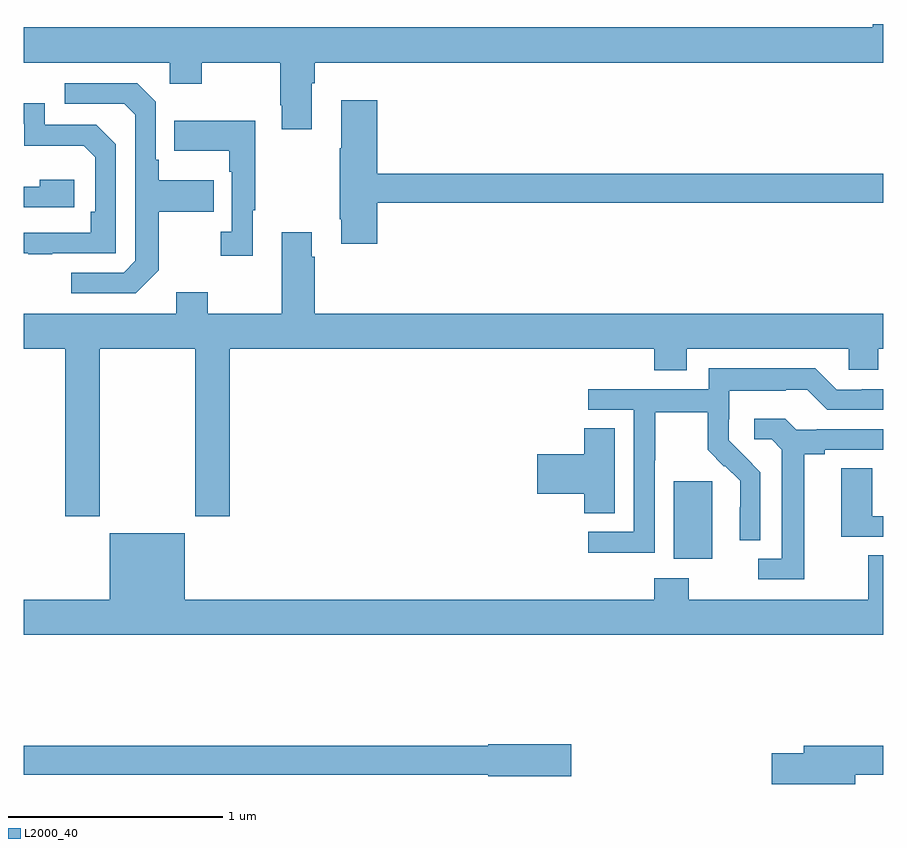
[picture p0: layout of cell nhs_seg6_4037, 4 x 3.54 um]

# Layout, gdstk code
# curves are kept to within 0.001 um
import gdstk
lib = gdstk.Library(unit=1e-6, precision=1e-09)
def R(c, l, rs):  # rectangles x0, y0, x1, y1
    for r in rs: c.add(gdstk.rectangle(r[:2], r[2:], *l))
def P(c, l, *ps):  # polygons
    for p in ps: c.add(gdstk.Polygon(p, *l))
L2000_40 = (2000, 40)

nhs_seg6_4037 = lib.new_cell('nhs_seg6_4037')
R(nhs_seg6_4037, L2000_40, [(352.025,961.01,352.204,961.371)])
P(nhs_seg6_4037, L2000_40, [(350.341,963.224),(350.354,963.224),(350.354,963.32),(353,963.32),(353,963.5),(352.952,963.5),(352.952,963.484),(349,963.484),(349,963.32),(349.68,963.32),(349.68,963.221),(349.827,963.221),(349.827,963.32),(350.194,963.32),(350.194,963.121),(350.201,963.121),(350.201,963.009),(350.341,963.009)],
  [(349.627,962.353),(349.627,962.626),(349.883,962.626),(349.883,962.773),(349.627,962.773),(349.627,962.869),(349.614,962.869),(349.614,963.138),(349.527,963.225),(349.191,963.225),(349.191,963.129),(349.467,963.129),(349.518,963.078),(349.518,962.397),(349.464,962.343),(349.221,962.343),(349.221,962.247),(349.521,962.247)],
  [(350.645,962.668),(353,962.668),(353,962.804),(350.645,962.804),(350.645,963.145),(350.477,963.145),(350.477,962.921),(350.47,962.921),(350.47,962.59),(350.477,962.59),(350.477,962.478),(350.645,962.478)],
  [(349.133,962.433),(349.428,962.433),(349.428,962.94),(349.338,963.03),(349.098,963.03),(349.098,963.132),(349,963.132),(349,963.036),(349.002,963.036),(349.002,962.933),(349.279,962.933),(349.332,962.88),(349.332,962.626),(349.312,962.626),(349.312,962.529),(349,962.529),(349,962.433),(349.021,962.433),(349.021,962.428),(349.133,962.428)],
  [(350.065,962.633),(350.077,962.633),(350.077,963.049),(349.699,963.049),(349.699,962.909),(349.956,962.909),(349.956,962.813),(349.968,962.813),(349.968,962.534),(349.917,962.534),(349.917,962.421),(350.065,962.421)],
  [(349.234,962.776),(349.073,962.776),(349.073,962.742),(349,962.742),(349,962.646),(349.234,962.646)],
  [(349.353,961.988),(349.798,961.988),(349.798,961.209),(349.958,961.209),(349.958,961.988),(351.935,961.988),(351.935,961.889),(352.087,961.889),(352.087,961.988),(352.839,961.988),(352.839,961.89),(352.977,961.89),(352.977,961.988),(353,961.988),(353,962.152),(350.354,962.152),(350.354,962.417),(350.341,962.417),(350.341,962.53),(350.201,962.53),(350.201,962.152),(349.857,962.152),(349.857,962.251),(349.709,962.251),(349.709,962.152),(349,962.152),(349,961.988),(349.193,961.988),(349.193,961.209),(349.353,961.209)],
  [(351.936,961.468),(351.939,961.468),(351.939,961.692),(352.183,961.692),(352.183,961.517),(352.26,961.44),(352.263,961.443),(352.334,961.373),(352.334,961.25),(352.332,961.25),(352.332,961.096),(352.428,961.096),(352.428,961.414),(352.282,961.562),(352.282,961.659),(352.284,961.659),(352.284,961.793),(352.547,961.793),(352.547,961.797),(352.647,961.797),(352.74,961.704),(353,961.704),(353,961.8),(352.901,961.8),(352.901,961.797),(352.785,961.797),(352.685,961.897),(352.188,961.897),(352.188,961.8),(351.627,961.8),(351.627,961.704),(351.84,961.704),(351.84,961.137),(351.627,961.137),(351.627,961.039),(351.936,961.039)],
  [(352.633,961.496),(352.729,961.496),(352.729,961.518),(353,961.518),(353,961.614),(352.69,961.614),(352.69,961.611),(352.596,961.611),(352.544,961.663),(352.401,961.663),(352.401,961.566),(352.482,961.566),(352.529,961.519),(352.529,961.011),(352.419,961.011),(352.419,960.915),(352.633,960.915)],
  [(351.751,961.619),(351.608,961.619),(351.608,961.496),(351.39,961.496),(351.39,961.313),(351.608,961.313),(351.608,961.222),(351.751,961.222)],
  [(353,961.209),(352.95,961.209),(352.95,961.433),(352.805,961.433),(352.805,961.113),(353,961.113)],
  [(353,961.028),(352.931,961.028),(352.931,960.82),(352.095,960.82),(352.095,960.919),(351.935,960.919),(351.935,960.82),(349.75,960.82),(349.75,961.129),(349.4,961.129),(349.4,960.82),(349,960.82),(349,960.656),(353,960.656)],
  [(351.547,960.146),(351.162,960.146),(351.162,960.14),(349,960.14),(349,960.004),(351.162,960.004),(351.162,959.999),(351.547,959.999)],
  [(352.87,960.004),(353,960.004),(353,960.14),(352.631,960.14),(352.631,960.104),(352.482,960.104),(352.482,959.962),(352.87,959.962)])

lib.write_gds('nhs_seg6_4037.gds')
